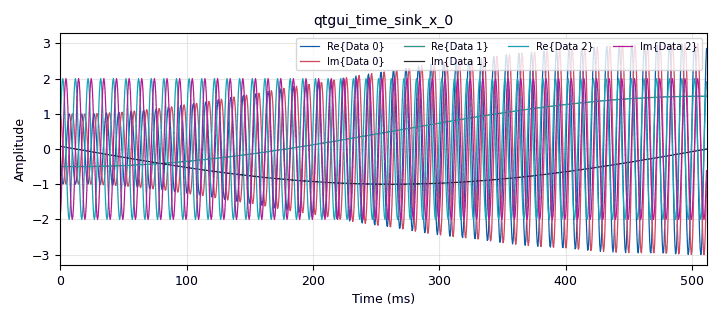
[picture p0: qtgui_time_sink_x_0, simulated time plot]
options:
  parameters:
    author: rmoulin
    generate_options: qt_gui
    id: manip2
    output_language: python
    title: Not titled yet
  states: {}

blocks:
- name: fc
  id: variable
  parameters:
    value: 1e2
  states: {}
- name: samp_rate
  id: variable
  parameters:
    value: 2e3
  states: {}
- name: analog_sig_source_x_0
  id: analog_sig_source_x
  parameters:
    amp: '1'
    freq: '1'
    offset: '0.5'
    phase: '0'
    samp_rate: samp_rate
    type: complex
    waveform: analog.GR_SIN_WAVE
  states: {}
- name: analog_sig_source_x_1
  id: analog_sig_source_x
  parameters:
    amp: '2'
    freq: fc
    offset: '0'
    phase: '0'
    samp_rate: samp_rate
    type: complex
    waveform: analog.GR_SIN_WAVE
  states: {}
- name: blocks_multiply_xx_0
  id: blocks_multiply_xx
  parameters:
    type: complex
  states: {}
- name: qtgui_sink_x_0
  id: qtgui_sink_x
  parameters:
    bw: samp_rate
    fc: '0'
    fftsize: '1024'
    type: complex
    wintype: firdes.WIN_BLACKMAN_hARRIS
  states: {state: disabled}
- name: qtgui_sink_x_1
  id: qtgui_sink_x
  parameters:
    bw: samp_rate
    fc: fc
    fftsize: '1024'
    type: complex
    wintype: firdes.WIN_BLACKMAN_hARRIS
  states: {state: disabled}
- name: qtgui_time_sink_x_0
  id: qtgui_time_sink_x
  parameters:
    autoscale: 'True'
    ctrlpanel: 'True'
    nconnections: '3'
    size: '1024'
    srate: samp_rate
    type: complex
  states: {}

connections:
- [analog_sig_source_x_0, '0', blocks_multiply_xx_0, '0']
- [analog_sig_source_x_0, '0', qtgui_time_sink_x_0, '1']
- [analog_sig_source_x_1, '0', blocks_multiply_xx_0, '1']
- [analog_sig_source_x_1, '0', qtgui_time_sink_x_0, '2']
- [blocks_multiply_xx_0, '0', qtgui_sink_x_1, '0']
- [blocks_multiply_xx_0, '0', qtgui_time_sink_x_0, '0']

metadata:
  file_format: 1
